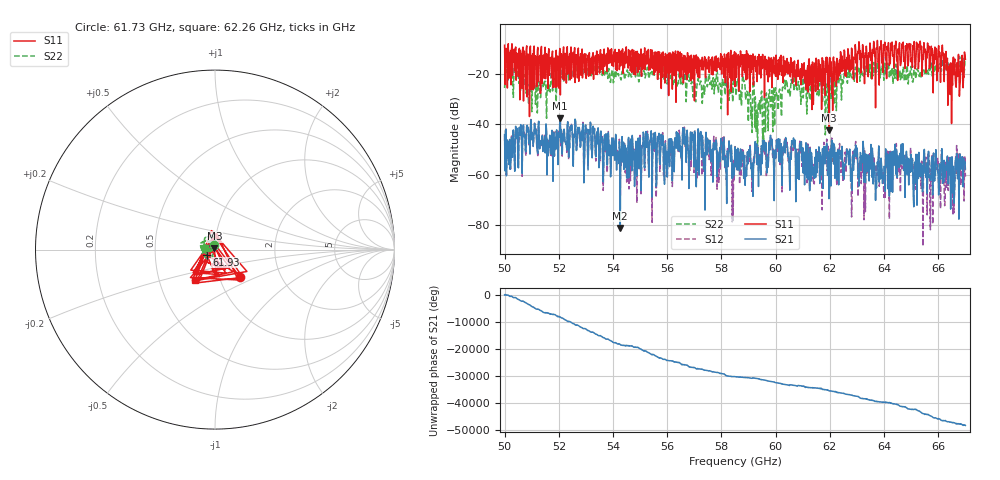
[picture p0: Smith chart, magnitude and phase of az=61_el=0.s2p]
!Created with skrf (http://scikit-rf.org).
# GHz S RI R 50.0
!freq ReS11 ImS11 ReS21 ImS21 ReS12 ImS12 ReS22 ImS22
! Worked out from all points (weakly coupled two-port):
!   1001 points, 50 GHz to 67 GHz, reference 50 ohm
!   highest |S21| = -37.68 dB at 52.04 GHz (marker M1); lowest = -81.2 dB at 54.27 GHz (marker M2)
!   lowest |S11| = -42.4 dB at 61.97 GHz (marker M3), VSWR 1.02, Z = 49.7 + j0.672 ohm
!   |S11| at or under -10 dB: 52.72 GHz to 53.81 GHz (1.086 GHz wide, 2.04 % of centre); 55.17 GHz to 62.66 GHz (7.496 GHz wide, 12.7 % of centre); 66.16 GHz to end of sweep (the widest 3 of 62)
!   |S22| runs from -51.6 to -13.0 dB; largest |S21 - S12| = 0.0024
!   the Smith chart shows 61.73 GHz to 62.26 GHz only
!   S11 on the Smith chart (normalised r, x): 61.73 GHz: 1.25, -0.40; 61.93 GHz: 0.91, -0.05; 62.26 GHz: 0.76, -0.27
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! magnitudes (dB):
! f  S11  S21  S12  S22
! 50 GHz  -8.5  -44.1  -44.4  -25.6
! 50.15 GHz  -21.7  -56.0  -52.8  -19.8
! 51.22 GHz  -9.4  -51.6  -53.0  -29.5
! 52.04 GHz  -9.9  -37.7  -38.0  -22.6
! 52.84 GHz  -12.5  -42.7  -43.0  -20.4
! 54.27 GHz  -12.3  -81.2  -69.8  -21.5
! 55.68 GHz  -13.5  -45.7  -44.8  -21.9
! 56.65 GHz  -19.1  -43.9  -44.4  -19.6
! 58.5 GHz  -25.0  -49.1  -48.9  -22.4
! 59.32 GHz  -23.0  -56.0  -54.6  -36.7
! 60.64 GHz  -15.3  -47.7  -50.4  -21.5
! 61.34 GHz  -34.1  -55.0  -57.4  -25.1
! 61.73 GHz  -13.7  -49.7  -52.0  -31.3
! 61.93 GHz  -25.2  -51.1  -48.7  -35.8
! 61.97 GHz  -42.4  -69.6  -61.2  -22.7
! 62.26 GHz  -13.8  -62.1  -64.4  -25.2
! 64.18 GHz  -12.1  -54.2  -55.2  -17.5
! 64.38 GHz  -8.7  -56.2  -55.4  -18.7
! 65.15 GHz  -17.9  -63.3  -57.2  -19.2
! 66.08 GHz  -23.3  -61.8  -73.6  -15.5
! 66.44 GHz  -28.1  -53.2  -54.2  -15.8
! 67 GHz  -14.1  -57.8  -60.8  -14.5
